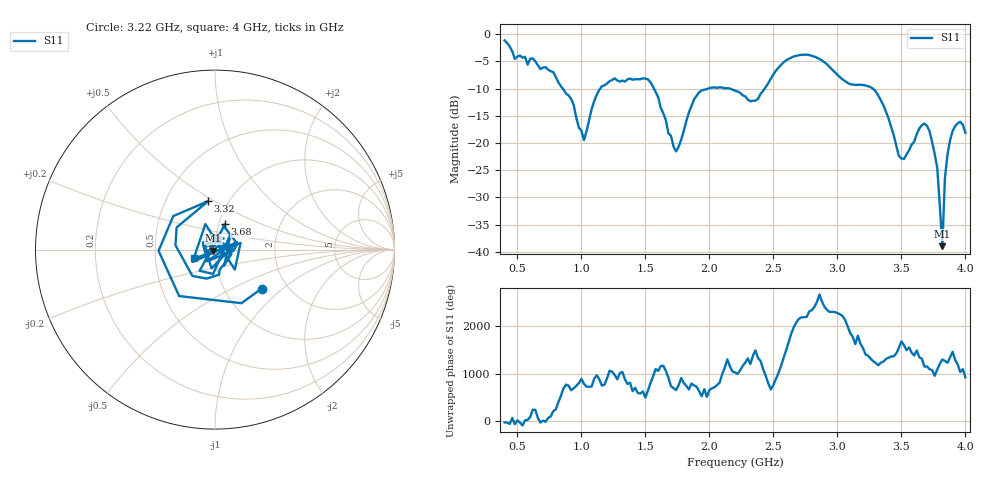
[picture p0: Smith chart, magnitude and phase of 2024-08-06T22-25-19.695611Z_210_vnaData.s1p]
!Created with skrf (http://scikit-rf.org).
# Hz S RI R 50.0
!freq ReS11 ImS11
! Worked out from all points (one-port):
!   181 points, 400 MHz to 4 GHz, reference 50 ohm
!   lowest |S11| = -39.0 dB at 3.82 GHz (marker M1), VSWR 1.02, Z = 49.1 - j0.662 ohm
!   |S11| at or under -10 dB: 855.1 MHz to 1.147 GHz (291.5 MHz wide, 29.1 % of centre); 1.567 GHz to 1.99 GHz (422.2 MHz wide, 23.7 % of centre); 3.277 GHz to end of sweep (the widest 3 of 4)
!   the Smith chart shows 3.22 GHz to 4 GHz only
!   S11 on the Smith chart (normalised r, x): 3.22 GHz: 1.49, -0.73; 3.32 GHz: 0.80, +0.47; 3.68 GHz: 1.07, +0.31; 4 GHz: 0.79, -0.08
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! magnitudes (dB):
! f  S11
! 400 MHz  -1.1
! 480 MHz  -4.5
! 620 MHz  -4.4
! 860 MHz  -10.1
! 1.02 GHz  -19.5
! 1.14 GHz  -10.2
! 1.3 GHz  -8.7
! 1.52 GHz  -8.3
! 1.72 GHz  -20.7
! 1.76 GHz  -20.7
! 1.92 GHz  -10.7
! 2.2 GHz  -10.3
! 2.36 GHz  -12.2
! 2.66 GHz  -4.1
! 2.86 GHz  -4.5
! 3.1 GHz  -9.2
! 3.22 GHz  -9.4
! 3.32 GHz  -11.3
! 3.48 GHz  -22.4
! 3.56 GHz  -21.3
! 3.68 GHz  -16.4
! 3.72 GHz  -17.8
! 3.78 GHz  -24.5
! 3.82 GHz  -39.0
! 3.84 GHz  -26.5
! 3.88 GHz  -19.5
! 3.96 GHz  -16.1
! 4 GHz  -18.1
